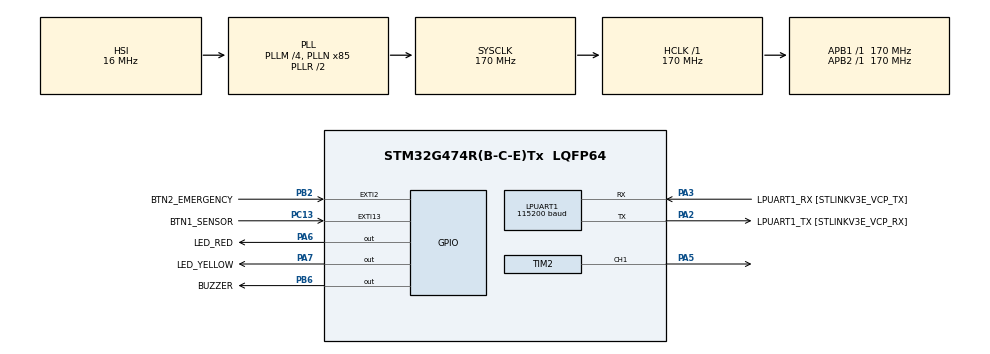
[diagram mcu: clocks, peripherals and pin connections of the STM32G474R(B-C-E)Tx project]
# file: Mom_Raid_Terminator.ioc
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LPUART1.BaudRate=115200
Mcu.Family=STM32G4
Mcu.Name=STM32G474R(B-C-E)Tx
Mcu.Package=LQFP64
NVIC.EXTI15_10_IRQn=true\:0\:0\:false\:false\:true\:true\:true\:true
NVIC.EXTI2_IRQn=true\:0\:0\:false\:false\:true\:true\:true\:true
NVIC.PriorityGroup=NVIC_PRIORITYGROUP_4
NVIC.TIM2_IRQn=true\:0\:0\:false\:false\:true\:true\:true\:true
PA13.GPIO_Label=T_SWDIO
PA13.Signal=SYS_JTMS-SWDIO
PA14.GPIO_Label=T_SWCLK
PA14.Signal=SYS_JTCK-SWCLK
PA2.GPIO_Label=LPUART1_TX [STLINKV3E_VCP_RX]
PA2.Mode=Asynchronous
PA2.Signal=LPUART1_TX
PA3.GPIO_Label=LPUART1_RX [STLINKV3E_VCP_TX]
PA3.Mode=Asynchronous
PA3.Signal=LPUART1_RX
PA5.Signal=S_TIM2_CH1
PA6.GPIO_Label=LED_RED
PA6.Signal=GPIO_Output
PA7.GPIO_Label=LED_YELLOW
PA7.Signal=GPIO_Output
PB2.GPIO_Label=BTN2_EMERGENCY
PB2.GPIO_ModeDefaultEXTI=GPIO_MODE_IT_FALLING
PB2.GPIO_PuPd=GPIO_PULLUP
PB2.Signal=GPXTI2
PB3.GPIO_Label=T_SWO
PB3.Signal=SYS_JTDO-SWO
PB6.GPIO_Label=BUZZER
PB6.Signal=GPIO_Output
PC13.GPIO_Label=BTN1_SENSOR
PC13.GPIO_ModeDefaultEXTI=GPIO_MODE_IT_FALLING
PC13.Signal=GPXTI13
PC14-OSC32_IN.GPIO_Label=RCC_OSC32_IN
PC14-OSC32_IN.Signal=RCC_OSC32_IN
PC15-OSC32_OUT.GPIO_Label=RCC_OSC32_OUT
PC15-OSC32_OUT.Signal=RCC_OSC32_OUT
PF0-OSC_IN.GPIO_Label=RCC_OSC_IN
PF0-OSC_IN.Signal=RCC_OSC_IN
PF1-OSC_OUT.GPIO_Label=RCC_OSC_OUT
PF1-OSC_OUT.Signal=RCC_OSC_OUT
ProjectManager.HeapSize=0x200
ProjectManager.StackSize=0x400
ProjectManager.TargetToolchain=STM32CubeIDE
RCC.ADC12Freq_Value=170000000
RCC.ADC345Freq_Value=170000000
RCC.AHBFreq_Value=170000000
RCC.APB1Freq_Value=170000000
RCC.APB1TimFreq_Value=170000000
RCC.APB2Freq_Value=170000000
RCC.APB2TimFreq_Value=170000000
RCC.CortexFreq_Value=170000000
RCC.EXTERNAL_CLOCK_VALUE=12288000
RCC.HCLKFreq_Value=170000000
RCC.HSE_VALUE=24000000
RCC.HSI48_VALUE=48000000
RCC.HSI_VALUE=16000000
RCC.LSE_VALUE=32768
RCC.PLLM=RCC_PLLM_DIV4
RCC.PLLN=85
RCC.RTCClockSelection=RCC_RTCCLKSOURCE_LSE
RCC.SYSCLKFreq_VALUE=170000000
RCC.SYSCLKSource=RCC_SYSCLKSOURCE_PLLCLK
RCC.USBFreq_Value=170000000
RCC.VCOOutputFreq_Value=340000000
SH.S_TIM2_CH1.0=TIM2_CH1,PWM Generation1 CH1
TIM2.AutoReloadPreload=TIM_AUTORELOAD_PRELOAD_ENABLE
TIM2.Channel-PWM\ Generation1\ CH1=TIM_CHANNEL_1
TIM2.PeriodNoDither=999
TIM2.Prescaler=169
VP_SYS_VS_DBSignals.Mode=DisableDeadBatterySignals
VP_TIM2_VS_ClockSourceINT.Mode=Internal
board=NUCLEO-G474RE

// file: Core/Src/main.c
/* USER CODE BEGIN Header */
/**
  ******************************************************************************
  * @file           : main.c
  * @brief          : Mom Raid Terminator Main Program Body
  * @target         : STM32G474RE
  ******************************************************************************
  */
/* USER CODE END Header */
#include "main.h"

/* USER CODE BEGIN Includes */
#include <stdio.h>
#include <string.h>
/* USER CODE END Includes */

/* USER CODE BEGIN PTD */
typedef enum {
    STATE_1_LOW_LIGHT = 0,
    STATE_2_COUNTDOWN,
    STATE_3_MID_LIGHT
} SystemState;
/* USER CODE END PTD */

UART_HandleTypeDef hlpuart1;
TIM_HandleTypeDef htim2;

/* USER CODE BEGIN PV */
volatile SystemState currentState = STATE_1_LOW_LIGHT;
SystemState lastState = (SystemState)-1;
volatile uint8_t countdownSeconds = 10;
volatile uint16_t timer_1ms_counter = 0;
volatile uint16_t timer_500ms_counter = 0;
volatile uint8_t buzzer_led_toggle = 0;

char rx_buffer[16];
uint8_t rx_index = 0;
uint8_t rx_byte = 0;

volatile uint32_t last_exti_tick = 0;
volatile uint8_t uart_send_flag = 0;
volatile uint8_t send_sec_val = 0;
/* USER CODE END PV */

void SystemClock_Config(void);
static void MX_GPIO_Init(void);
static void MX_LPUART1_UART_Init(void);
static void MX_TIM2_Init(void);
/* USER CODE BEGIN PFP */
void UART_SendString(char *str);
/* USER CODE END PFP */

/* USER CODE BEGIN 0 */
void UART_SendString(char *str)
{
    HAL_UART_Transmit(&hlpuart1, (uint8_t *)str, strlen(str), HAL_MAX_DELAY);
}

void HAL_GPIO_EXTI_Callback(uint16_t GPIO_Pin)
{
    uint32_t current_tick = HAL_GetTick();
    if ((current_tick - last_exti_tick) < 200) {
        return;
    }
    last_exti_tick = current_tick;

    if (GPIO_Pin == BTN1_SENSOR_Pin) {
        if (currentState == STATE_1_LOW_LIGHT) {
            currentState = STATE_2_COUNTDOWN;
            countdownSeconds = 10;
            timer_1ms_counter = 0;
            timer_500ms_counter = 0;
            buzzer_led_toggle = 0;
        }
    } else if (GPIO_Pin == BTN2_EMERGENCY_Pin) {
        if (currentState == STATE_2_COUNTDOWN) {
            currentState = STATE_3_MID_LIGHT;
        }
    }
}

void HAL_TIM_PeriodElapsedCallback(TIM_HandleTypeDef *htim)
{
    if (htim->Instance == TIM2) {
        if (currentState == STATE_2_COUNTDOWN) {

            timer_500ms_counter++;
            if (timer_500ms_counter >= 500) {
                timer_500ms_counter = 0;
                buzzer_led_toggle = !buzzer_led_toggle;
                HAL_GPIO_WritePin(GPIOA, LED_RED_Pin, buzzer_led_toggle ? GPIO_PIN_SET : GPIO_PIN_RESET);
                HAL_GPIO_WritePin(BUZZER_GPIO_Port, BUZZER_Pin, buzzer_led_toggle ? GPIO_PIN_SET : GPIO_PIN_RESET);
            }

            timer_1ms_counter++;
            if (timer_1ms_counter >= 1000) {
                timer_1ms_counter = 0;
                if (countdownSeconds > 0) {
                    countdownSeconds--;
                    send_sec_val = countdownSeconds;
                    uart_send_flag = 1;
                }
                if (countdownSeconds == 0) {
                    currentState = STATE_3_MID_LIGHT;
                }
            }
        }
    }
}
/* USER CODE END 0 */

int main(void)
{

  /* MCU Configuration--------------------------------------------------------*/

  /* Reset of all peripherals, Initializes the Flash interface and the Systick. */
  HAL_Init();

  /* Configure the system clock */
  SystemClock_Config();

  /* Initialize all configured peripherals */
  MX_GPIO_Init();
  MX_LPUART1_UART_Init();
  MX_TIM2_Init();
  /* USER CODE BEGIN 2 */

  HAL_NVIC_SetPriority(TIM2_IRQn, 1, 0);
  HAL_NVIC_EnableIRQ(TIM2_IRQn);

  HAL_TIM_Base_Start_IT(&htim2);
  HAL_TIM_PWM_Start(&htim2, TIM_CHANNEL_1);
  /* USER CODE END 2 */

  /* Infinite loop */
  /* USER CODE BEGIN WHILE */
  while (1)
  {

      if (HAL_UART_Receive(&hlpuart1, &rx_byte, 1, 0) == HAL_OK) {
          if (rx_byte == '\r' || rx_byte == '\n') {
              rx_buffer[rx_index] = '\0';
              if (rx_buffer[0] != '\0') {
                  if (currentState == STATE_3_MID_LIGHT && strcmp(rx_buffer, "Safe") == 0) {
                      currentState = STATE_1_LOW_LIGHT;
                      UART_SendString("[System Reset] Returned to Standby Mode.\r\n");
                  }
              }
              rx_index = 0;
          } else {
              if (rx_index < sizeof(rx_buffer) - 1) {
                  rx_buffer[rx_index++] = (char)rx_byte;
              } else {
                  rx_index = 0;
              }
          }
      }

      if (uart_send_flag) {
          uart_send_flag = 0;
          char msg[32];
          sprintf(msg, "Count: %02d\r\n", send_sec_val);
          UART_SendString(msg);
      }

      if (currentState != lastState) {
          lastState = currentState;
          switch (currentState) {
              case STATE_1_LOW_LIGHT:
                  __HAL_TIM_SET_COMPARE(&htim2, TIM_CHANNEL_1, 100);
                  HAL_GPIO_WritePin(GPIOA, LED_RED_Pin, GPIO_PIN_RESET);
                  HAL_GPIO_WritePin(GPIOA, LED_YELLOW_Pin, GPIO_PIN_RESET);
                  HAL_GPIO_WritePin(BUZZER_GPIO_Port, BUZZER_Pin, GPIO_PIN_RESET);
                  UART_SendString("[State 1] Standby...\r\n");
                  break;

              case STATE_2_COUNTDOWN:
                  __HAL_TIM_SET_COMPARE(&htim2, TIM_CHANNEL_1, 0);
                  HAL_GPIO_WritePin(GPIOA, LED_RED_Pin, GPIO_PIN_SET);
                  HAL_GPIO_WritePin(GPIOA, LED_YELLOW_Pin, GPIO_PIN_RESET);
                  UART_SendString("[State 2] MOM RAID WARNING!...\r\n");
                  break;

              case STATE_3_MID_LIGHT:
                  __HAL_TIM_SET_COMPARE(&htim2, TIM_CHANNEL_1, 0);
                  HAL_GPIO_WritePin(GPIOA, LED_RED_Pin, GPIO_PIN_RESET);
                  HAL_GPIO_WritePin(BUZZER_GPIO_Port, BUZZER_Pin, GPIO_PIN_RESET);
                  HAL_GPIO_WritePin(GPIOA, LED_YELLOW_Pin, GPIO_PIN_SET);
                  UART_SendString("[State 3] Study Mode Active.\r\n");
                  UART_SendString("Calculus Problem: Find d/dx [ integral_0^x (t^2 + 1) dt ].\r\n");
                  break;
          }
      }
    /* USER CODE END WHILE */

  }
}

void SystemClock_Config(void)
{
  RCC_OscInitTypeDef RCC_OscInitStruct = {0};
  RCC_ClkInitTypeDef RCC_ClkInitStruct = {0};

  /** Configure the main internal regulator output voltage
  */
  HAL_PWREx_ControlVoltageScaling(PWR_REGULATOR_VOLTAGE_SCALE1_BOOST);

  /** Initializes the RCC Oscillators according to the specified parameters
  * in the RCC_OscInitTypeDef structure.
  */
  RCC_OscInitStruct.OscillatorType = RCC_OSCILLATORTYPE_HSI;
  RCC_OscInitStruct.HSIState = RCC_HSI_ON;
  RCC_OscInitStruct.HSICalibrationValue = RCC_HSICALIBRATION_DEFAULT;
  RCC_OscInitStruct.PLL.PLLState = RCC_PLL_ON;
  RCC_OscInitStruct.PLL.PLLSource = RCC_PLLSOURCE_HSI;
  RCC_OscInitStruct.PLL.PLLM = RCC_PLLM_DIV4;
  RCC_OscInitStruct.PLL.PLLN = 85;
  RCC_OscInitStruct.PLL.PLLP = RCC_PLLP_DIV2;
  RCC_OscInitStruct.PLL.PLLQ = RCC_PLLQ_DIV2;
  RCC_OscInitStruct.PLL.PLLR = RCC_PLLR_DIV2;
  if (HAL_RCC_OscConfig(&RCC_OscInitStruct) != HAL_OK)
  {
    Error_Handler();
  }

  /** Initializes the CPU, AHB and APB buses clocks
  */
  RCC_ClkInitStruct.ClockType = RCC_CLOCKTYPE_HCLK|RCC_CLOCKTYPE_SYSCLK
                              |RCC_CLOCKTYPE_PCLK1|RCC_CLOCKTYPE_PCLK2;
  RCC_ClkInitStruct.SYSCLKSource = RCC_SYSCLKSOURCE_PLLCLK;
  RCC_ClkInitStruct.AHBCLKDivider = RCC_SYSCLK_DIV1;
  RCC_ClkInitStruct.APB1CLKDivider = RCC_HCLK_DIV1;
  RCC_ClkInitStruct.APB2CLKDivider = RCC_HCLK_DIV1;

  if (HAL_RCC_ClockConfig(&RCC_ClkInitStruct, FLASH_LATENCY_4) != HAL_OK)
  {
    Error_Handler();
  }
}

static void MX_LPUART1_UART_Init(void)
{

  hlpuart1.Instance = LPUART1;
  hlpuart1.Init.BaudRate = 115200;
  hlpuart1.Init.WordLength = UART_WORDLENGTH_8B;
  hlpuart1.Init.StopBits = UART_STOPBITS_1;
  hlpuart1.Init.Parity = UART_PARITY_NONE;
  hlpuart1.Init.Mode = UART_MODE_TX_RX;
  hlpuart1.Init.HwFlowCtl = UART_HWCONTROL_NONE;
  hlpuart1.Init.OneBitSampling = UART_ONE_BIT_SAMPLE_DISABLE;
  hlpuart1.Init.ClockPrescaler = UART_PRESCALER_DIV1;
  hlpuart1.AdvancedInit.AdvFeatureInit = UART_ADVFEATURE_NO_INIT;
  if (HAL_UART_Init(&hlpuart1) != HAL_OK)
  {
    Error_Handler();
  }
  if (HAL_UARTEx_SetTxFifoThreshold(&hlpuart1, UART_TXFIFO_THRESHOLD_1_8) != HAL_OK)
  {
    Error_Handler();
  }
  if (HAL_UARTEx_SetRxFifoThreshold(&hlpuart1, UART_RXFIFO_THRESHOLD_1_8) != HAL_OK)
  {
    Error_Handler();
  }
  if (HAL_UARTEx_DisableFifoMode(&hlpuart1) != HAL_OK)
  {
    Error_Handler();
  }

}

static void MX_TIM2_Init(void)
{

  TIM_ClockConfigTypeDef sClockSourceConfig = {0};
  TIM_MasterConfigTypeDef sMasterConfig = {0};
  TIM_OC_InitTypeDef sConfigOC = {0};

  htim2.Instance = TIM2;
  htim2.Init.Prescaler = 169;
  htim2.Init.CounterMode = TIM_COUNTERMODE_UP;
  htim2.Init.Period = 999;
  htim2.Init.ClockDivision = TIM_CLOCKDIVISION_DIV1;
  htim2.Init.AutoReloadPreload = TIM_AUTORELOAD_PRELOAD_ENABLE;
  if (HAL_TIM_Base_Init(&htim2) != HAL_OK)
  {
    Error_Handler();
  }
  sClockSourceConfig.ClockSource = TIM_CLOCKSOURCE_INTERNAL;
  if (HAL_TIM_ConfigClockSource(&htim2, &sClockSourceConfig) != HAL_OK)
  {
    Error_Handler();
  }
  if (HAL_TIM_PWM_Init(&htim2) != HAL_OK)
  {
    Error_Handler();
  }
  sMasterConfig.MasterOutputTrigger = TIM_TRGO_RESET;
  sMasterConfig.MasterSlaveMode = TIM_MASTERSLAVEMODE_DISABLE;
  if (HAL_TIMEx_MasterConfigSynchronization(&htim2, &sMasterConfig) != HAL_OK)
  {
    Error_Handler();
  }
  sConfigOC.OCMode = TIM_OCMODE_PWM1;
  sConfigOC.Pulse = 0;
  sConfigOC.OCPolarity = TIM_OCPOLARITY_HIGH;
  sConfigOC.OCFastMode = TIM_OCFAST_DISABLE;
  if (HAL_TIM_PWM_ConfigChannel(&htim2, &sConfigOC, TIM_CHANNEL_1) != HAL_OK)
  {
    Error_Handler();
  }
  HAL_TIM_MspPostInit(&htim2);

}

static void MX_GPIO_Init(void)
{
  GPIO_InitTypeDef GPIO_InitStruct = {0};

  /* GPIO Ports Clock Enable */
  __HAL_RCC_GPIOC_CLK_ENABLE();
  __HAL_RCC_GPIOF_CLK_ENABLE();
  __HAL_RCC_GPIOA_CLK_ENABLE();
  __HAL_RCC_GPIOB_CLK_ENABLE();

  /*Configure GPIO pin Output Level */
  HAL_GPIO_WritePin(GPIOA, LED_RED_Pin|LED_YELLOW_Pin, GPIO_PIN_RESET);

  /*Configure GPIO pin Output Level */
  HAL_GPIO_WritePin(BUZZER_GPIO_Port, BUZZER_Pin, GPIO_PIN_RESET);

  /*Configure GPIO pin : BTN1_SENSOR_Pin */
  GPIO_InitStruct.Pin = BTN1_SENSOR_Pin;
  GPIO_InitStruct.Mode = GPIO_MODE_IT_FALLING;
  GPIO_InitStruct.Pull = GPIO_NOPULL;
  HAL_GPIO_Init(BTN1_SENSOR_GPIO_Port, &GPIO_InitStruct);

  /*Configure GPIO pins : LED_RED_Pin LED_YELLOW_Pin */
  GPIO_InitStruct.Pin = LED_RED_Pin|LED_YELLOW_Pin;
  GPIO_InitStruct.Mode = GPIO_MODE_OUTPUT_PP;
  GPIO_InitStruct.Pull = GPIO_NOPULL;
  GPIO_InitStruct.Speed = GPIO_SPEED_FREQ_LOW;
  HAL_GPIO_Init(GPIOA, &GPIO_InitStruct);

  /*Configure GPIO pin : BTN2_EMERGENCY_Pin */
  GPIO_InitStruct.Pin = BTN2_EMERGENCY_Pin;
  GPIO_InitStruct.Mode = GPIO_MODE_IT_FALLING;
  GPIO_InitStruct.Pull = GPIO_PULLUP;
  HAL_GPIO_Init(BTN2_EMERGENCY_GPIO_Port, &GPIO_InitStruct);

  /*Configure GPIO pin : BUZZER_Pin */
  GPIO_InitStruct.Pin = BUZZER_Pin;
  GPIO_InitStruct.Mode = GPIO_MODE_OUTPUT_PP;
  GPIO_InitStruct.Pull = GPIO_NOPULL;
  GPIO_InitStruct.Speed = GPIO_SPEED_FREQ_LOW;
  HAL_GPIO_Init(BUZZER_GPIO_Port, &GPIO_InitStruct);

  /* EXTI interrupt init*/
  HAL_NVIC_SetPriority(EXTI2_IRQn, 0, 0);
  HAL_NVIC_EnableIRQ(EXTI2_IRQn);

  HAL_NVIC_SetPriority(EXTI15_10_IRQn, 0, 0);
  HAL_NVIC_EnableIRQ(EXTI15_10_IRQn);

}

void Error_Handler(void)
{
  __disable_irq();
  while (1)
  {
  }
}
